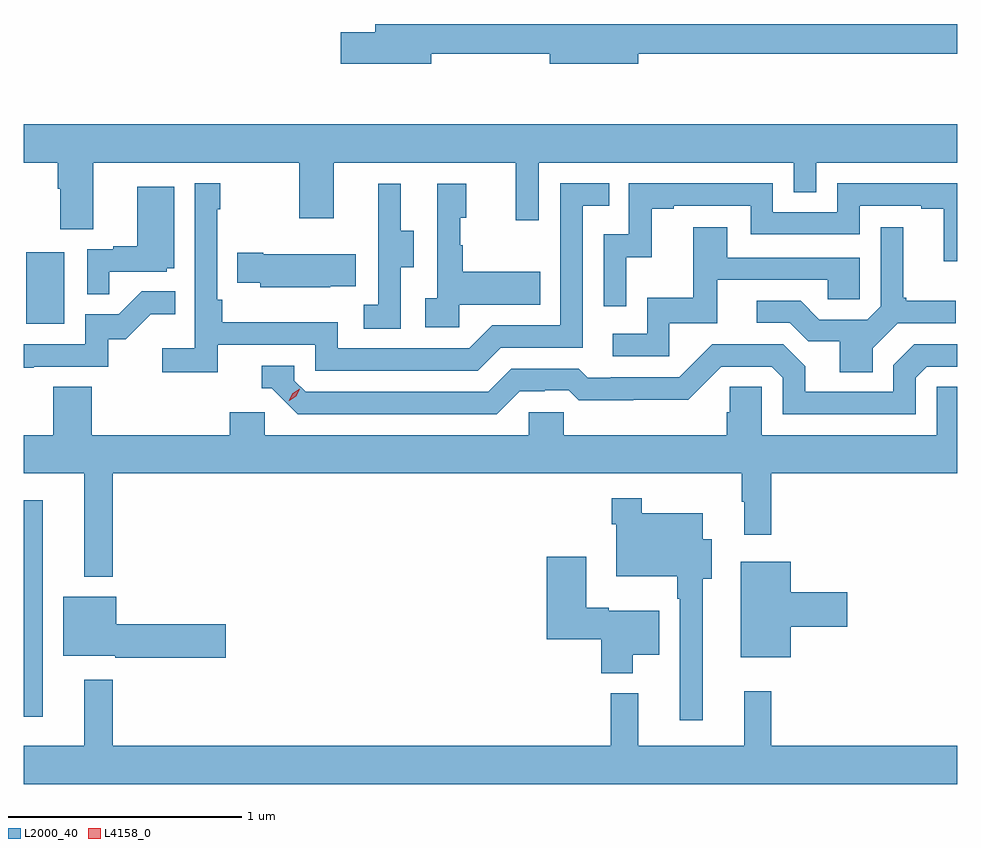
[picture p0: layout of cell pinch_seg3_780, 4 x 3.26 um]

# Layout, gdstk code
import gdstk
lib = gdstk.Library(unit=1e-6, precision=1e-09)
def R(c, l, rs):  # rectangles x0, y0, x1, y1
    for r in rs: c.add(gdstk.rectangle(r[:2], r[2:], *l))
def P(c, l, *ps):  # polygons
    for p in ps: c.add(gdstk.Polygon(p, *l))
L2000_40 = (2000, 40)
L4158_0 = (4158, 0)

pinch_seg3_780 = lib.new_cell('pinch_seg3_780')
R(pinch_seg3_780, L2000_40, [(814.661,715.857,814.741,716.785), (814.67,717.54,814.834,717.847)])
P(pinch_seg3_780, L2000_40, [(816.406,718.698),(816.914,718.698),(816.914,718.655),(817.294,718.655),(817.294,718.698),(818.661,718.698),(818.661,718.826),(816.167,718.826),(816.167,718.79),(816.018,718.79),(816.018,718.655),(816.406,718.655)],
  [(814.957,718.232),(815.842,718.232),(815.842,717.993),(815.989,717.993),(815.989,718.232),(816.77,718.232),(816.77,717.984),(816.867,717.984),(816.867,718.232),(817.962,718.232),(817.962,718.105),(818.058,718.105),(818.058,718.232),(818.661,718.232),(818.661,718.396),(814.661,718.396),(814.661,718.232),(814.805,718.232),(814.805,718.12),(814.817,718.12),(814.817,717.946),(814.957,717.946)],
  [(815.492,717.45),(815.91,717.45),(815.91,717.339),(816.607,717.339),(816.706,717.438),(817.056,717.438),(817.056,718.047),(817.169,718.047),(817.169,718.143),(816.96,718.143),(816.96,717.534),(816.669,717.534),(816.57,717.435),(816.006,717.435),(816.006,717.547),(815.51,717.547),(815.51,717.643),(815.49,717.643),(815.49,718.031),(815.503,718.031),(815.503,718.144),(815.394,718.144),(815.394,717.436),(815.253,717.436),(815.253,717.334),(815.492,717.334)],
  [(817.242,717.827),(817.352,717.827),(817.352,718.035),(817.447,718.035),(817.447,718.047),(817.776,718.047),(817.776,717.924),(818.244,717.924),(818.244,718.047),(818.507,718.047),(818.507,718.035),(818.603,718.035),(818.603,717.809),(818.661,717.809),(818.661,718.143),(818.148,718.143),(818.148,718.02),(817.872,718.02),(817.872,718.143),(817.254,718.143),(817.254,717.924),(817.146,717.924),(817.146,717.615),(817.242,717.615)],
  [(816.276,717.784),(816.331,717.784),(816.331,717.939),(816.277,717.939),(816.277,718.141),(816.179,718.141),(816.179,717.927),(816.18,717.927),(816.18,717.623),(816.117,717.623),(816.117,717.52),(816.276,717.52)],
  [(816.528,717.623),(816.875,717.623),(816.875,717.763),(816.541,717.763),(816.541,717.878),(816.531,717.878),(816.531,717.996),(816.556,717.996),(816.556,718.141),(816.432,718.141),(816.432,717.65),(816.381,717.65),(816.381,717.525),(816.528,717.525)],
  [(815.027,717.765),(815.274,717.765),(815.274,717.78),(815.305,717.78),(815.305,718.129),(815.147,718.129),(815.147,717.874),(815.043,717.874),(815.043,717.861),(814.932,717.861),(814.932,717.667),(815.027,717.667)],
  [(818.299,717.436),(818.406,717.543),(818.656,717.543),(818.656,717.64),(818.443,717.64),(818.443,717.652),(818.431,717.652),(818.431,717.955),(818.334,717.955),(818.334,717.615),(818.277,717.558),(818.071,717.558),(817.99,717.639),(817.803,717.639),(817.803,717.546),(817.944,717.546),(818.024,717.466),(818.159,717.466),(818.159,717.334),(818.299,717.334)],
  [(817.428,717.543),(817.633,717.543),(817.633,717.729),(818.107,717.729),(818.107,717.645),(818.244,717.645),(818.244,717.825),(817.675,717.825),(817.675,717.955),(817.531,717.955),(817.531,717.652),(817.332,717.652),(817.332,717.498),(817.185,717.498),(817.185,717.402),(817.428,717.402)],
  [(815.975,717.701),(816.083,717.701),(816.083,717.838),(815.686,717.838),(815.686,717.846),(815.575,717.846),(815.575,717.716),(815.673,717.716),(815.673,717.698),(815.975,717.698)],
  [(814.703,717.357),(815.022,717.357),(815.022,717.474),(815.098,717.474),(815.205,717.581),(815.309,717.581),(815.309,717.68),(815.165,717.68),(815.067,717.582),(814.923,717.582),(814.923,717.453),(814.661,717.453),(814.661,717.352),(814.703,717.352)],
  [(816.787,717.252),(816.894,717.252),(816.894,717.255),(816.997,717.255),(817.039,717.213),(817.272,717.213),(817.272,717.215),(817.508,717.215),(817.65,717.357),(817.866,717.357),(817.914,717.309),(817.914,717.153),(818.484,717.153),(818.484,717.309),(818.532,717.357),(818.661,717.357),(818.661,717.453),(818.478,717.453),(818.388,717.363),(818.388,717.249),(818.011,717.249),(818.011,717.359),(817.917,717.453),(817.611,717.453),(817.47,717.312),(817.177,717.312),(817.177,717.309),(817.078,717.309),(817.039,717.348),(816.75,717.348),(816.651,717.249),(815.868,717.249),(815.82,717.297),(815.82,717.36),(815.681,717.36),(815.681,717.264),(815.724,717.264),(815.835,717.153),(816.688,717.153)],
  [(814.787,717.064),(814.661,717.064),(814.661,716.9),(814.919,716.9),(814.919,716.456),(815.041,716.456),(815.041,716.9),(817.737,716.9),(817.737,716.777),(817.748,716.777),(817.748,716.637),(817.865,716.637),(817.865,716.9),(818.661,716.9),(818.661,717.272),(818.574,717.272),(818.574,717.064),(817.824,717.064),(817.824,717.272),(817.687,717.272),(817.687,717.162),(817.673,717.162),(817.673,717.064),(816.975,717.064),(816.975,717.162),(816.825,717.162),(816.825,717.064),(815.694,717.064),(815.694,717.162),(815.543,717.162),(815.543,717.064),(814.952,717.064),(814.952,717.272),(814.787,717.272)],
  [(817.57,716.447),(817.609,716.447),(817.609,716.617),(817.57,716.617),(817.57,716.728),(817.309,716.728),(817.309,716.794),(817.18,716.794),(817.18,716.681),(817.2,716.681),(817.2,716.459),(817.461,716.459),(817.461,716.363),(817.473,716.363),(817.473,715.842),(817.57,715.842)],
  [(817.27,716.123),(817.384,716.123),(817.384,716.311),(817.168,716.311),(817.168,716.324),(817.072,716.324),(817.072,716.542),(816.902,716.542),(816.902,716.189),(817.136,716.189),(817.136,716.042),(817.27,716.042)],
  [(817.948,716.243),(818.191,716.243),(818.191,716.39),(817.948,716.39),(817.948,716.521),(817.733,716.521),(817.733,716.111),(817.948,716.111)],
  [(815.527,716.252),(815.056,716.252),(815.056,716.371),(814.829,716.371),(814.829,716.117),(815.052,716.117),(815.052,716.11),(815.527,716.11)],
  [(818.661,715.732),(817.865,715.732),(817.865,715.966),(817.748,715.966),(817.748,715.732),(817.295,715.732),(817.295,715.957),(817.177,715.957),(817.177,715.732),(815.041,715.732),(815.041,716.014),(814.919,716.014),(814.919,715.732),(814.661,715.732),(814.661,715.568),(818.661,715.568)])
P(pinch_seg3_780, L4158_0, [(815.797,717.211),(815.797,717.211),(815.813,717.244),(815.843,717.263),(815.843,717.263),(815.843,717.263),(815.828,717.23),(815.798,717.211)])

lib.write_gds('pinch_seg3_780.gds')
